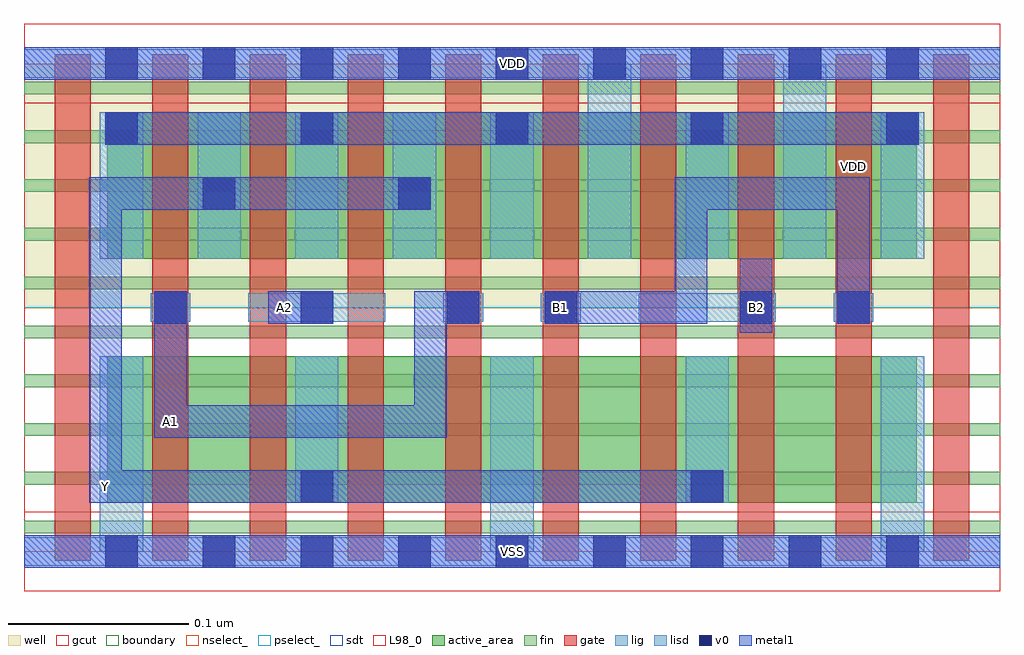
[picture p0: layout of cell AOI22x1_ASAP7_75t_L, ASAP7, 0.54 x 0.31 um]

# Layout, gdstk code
import gdstk
lib = gdstk.Library(unit=1e-6, precision=2.5e-10)
def R(c, l, rs):  # rectangles x0, y0, x1, y1
    for r in rs: c.add(gdstk.rectangle(r[:2], r[2:], *l))
def A(c, l, x, y, w, h, nx, ny, dx, dy):  # array of equal rectangles
    R(c, l, [(x+i*dx, y+j*dy, x+i*dx+w, y+j*dy+h) for i in range(nx) for j in range(ny)])
def P(c, l, *ps):  # polygons
    for p in ps: c.add(gdstk.Polygon(p, *l))
well = (1, 0)
fin = (2, 0)
gate = (7, 0)
gcut = (10, 0)
active_area = (11, 0)
nselect_ = (12, 0)
pselect_ = (13, 0)
lig = (16, 0)
lisd = (17, 0)
v0 = (18, 0)
metal1 = (19, 0)
sdt = (88, 0)
L98_0 = (98, 0)
boundary = (100, 0)

aoi22x1_asap7_75t_l = lib.new_cell('AOI22x1_ASAP7_75t_L')
R(aoi22x1_asap7_75t_l, well, [(0,0.135,0.54,0.27)])
A(aoi22x1_asap7_75t_l, fin, 0, 0.01, 0.54, 0.007, 1, 10, 0, 0.027)
A(aoi22x1_asap7_75t_l, gate, 0.017, -0.005, 0.02, 0.28, 10, 1, 0.054, 0)
R(aoi22x1_asap7_75t_l, gcut, [(0,-0.022,0.54,0.022), (0,0.248,0.54,0.292)])
R(aoi22x1_asap7_75t_l, active_area, [(0.046,0.027,0.494,0.108), (0.046,0.162,0.494,0.243)])
R(aoi22x1_asap7_75t_l, nselect_, [(0,0,0.54,0.135)])
R(aoi22x1_asap7_75t_l, pselect_, [(0,0.135,0.54,0.27)])
R(aoi22x1_asap7_75t_l, lig, [(0,-0.008,0.54,0.008), (0.07,0.127,0.092,0.143), (0.124,0.127,0.2,0.143), (0.232,0.127,0.254,0.143), (0.286,0.127,0.308,0.143), (0.34,0.127,0.416,0.143), (0.448,0.127,0.47,0.143), (0,0.262,0.54,0.278)])
A(aoi22x1_asap7_75t_l, lisd, 0.042, 0, 0.024, 0.108, 3, 1, 0.216, 0)
A(aoi22x1_asap7_75t_l, lisd, 0.042, 0.162, 0.024, 0.081, 5, 1, 0.054, 0)
R(aoi22x1_asap7_75t_l, lisd, [(0.15,0.027,0.174,0.108), (0.366,0.027,0.39,0.108), (0.312,0.162,0.336,0.27), (0.366,0.162,0.39,0.243), (0.42,0.162,0.444,0.27), (0.474,0.162,0.498,0.243)])
A(aoi22x1_asap7_75t_l, v0, 0.045, -0.009, 0.018, 0.018, 9, 2, 0.054, 0.27)
A(aoi22x1_asap7_75t_l, v0, 0.072, 0.126, 0.018, 0.018, 3, 1, 0.081, 0)
A(aoi22x1_asap7_75t_l, v0, 0.045, 0.225, 0.018, 0.018, 5, 1, 0.108, 0)
R(aoi22x1_asap7_75t_l, v0, [(0.153,0.027,0.171,0.045), (0.369,0.027,0.387,0.045), (0.288,0.126,0.306,0.144), (0.396,0.126,0.414,0.144), (0.45,0.126,0.468,0.144), (0.099,0.189,0.117,0.207), (0.207,0.189,0.225,0.207)])
R(aoi22x1_asap7_75t_l, metal1, [(0,-0.009,0.54,0.009), (0.396,0.121,0.414,0.162), (0.135,0.126,0.171,0.144), (0.045,0.225,0.495,0.243), (0,0.261,0.54,0.279)])
P(aoi22x1_asap7_75t_l, metal1, [(0.072,0.063),(0.072,0.144),(0.09,0.144),(0.09,0.081),(0.216,0.081),(0.216,0.144),(0.252,0.144),(0.252,0.126),(0.234,0.126),(0.234,0.063)],
  [(0.288,0.126),(0.288,0.144),(0.36,0.144),(0.36,0.207),(0.468,0.207),(0.468,0.126),(0.45,0.126),(0.45,0.189),(0.378,0.189),(0.378,0.126)],
  [(0.036,0.027),(0.036,0.207),(0.225,0.207),(0.225,0.189),(0.054,0.189),(0.054,0.045),(0.387,0.045),(0.387,0.027)])
A(aoi22x1_asap7_75t_l, sdt, 0.042, 0.027, 0.024, 0.081, 5, 1, 0.108, 0)
A(aoi22x1_asap7_75t_l, sdt, 0.042, 0.162, 0.024, 0.081, 9, 1, 0.054, 0)
R(aoi22x1_asap7_75t_l, L98_0, [(0,0,0.54,0.27)])
R(aoi22x1_asap7_75t_l, boundary, [(0,0,0.54,0.27)])
aoi22x1_asap7_75t_l.add(gdstk.Label('B1', (0.297,0.135), layer=19, texttype=251))
aoi22x1_asap7_75t_l.add(gdstk.Label('B2', (0.405,0.135), layer=19, texttype=251))
aoi22x1_asap7_75t_l.add(gdstk.Label('Y', (0.045,0.036), layer=19, texttype=251))
aoi22x1_asap7_75t_l.add(gdstk.Label('A2', (0.144,0.135), layer=19, texttype=251))
aoi22x1_asap7_75t_l.add(gdstk.Label('A1', (0.081,0.072), layer=19, texttype=251))
aoi22x1_asap7_75t_l.add(gdstk.Label('VSS', (0.27,0), layer=19, texttype=251))
aoi22x1_asap7_75t_l.add(gdstk.Label('VDD', (0.27,0.27), layer=19, texttype=251))
aoi22x1_asap7_75t_l.add(gdstk.Label('VDD', (0.459,0.213), layer=1, texttype=251))
aoi22x1_asap7_75t_l.add(gdstk.Label('VSS', (0.621,0.213), layer=3, texttype=251))

lib.write_gds('AOI22x1_ASAP7_75t_L.gds')
